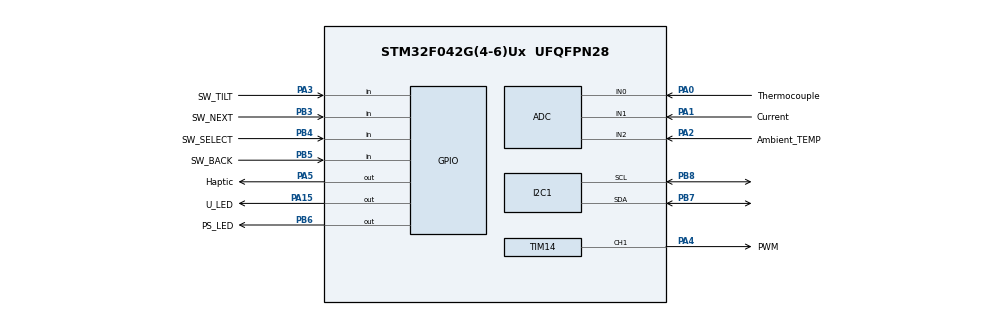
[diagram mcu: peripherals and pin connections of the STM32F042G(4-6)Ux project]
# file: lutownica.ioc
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ADC.ContinuousConvMode=DISABLE
ADC.EnableAnalogWatchDog=false
ADC.ExternalTrigConv=ADC_SOFTWARE_START
ADC.Overrun=ADC_OVR_DATA_PRESERVED
ADC.SamplingTime=ADC_SAMPLETIME_41CYCLES_5
Mcu.Family=STM32F0
Mcu.Name=STM32F042G(4-6)Ux
Mcu.Package=UFQFPN28
PA0.GPIO_Label=Thermocouple
PA0.Mode=IN0
PA0.Signal=ADC_IN0
PA1.GPIO_Label=Current
PA1.Mode=IN1
PA1.Signal=ADC_IN1
PA13.Mode=Serial_Wire
PA13.Signal=SYS_SWDIO
PA14.Mode=Serial_Wire
PA14.Signal=SYS_SWCLK
PA15.GPIO_Label=U_LED
PA15.Signal=GPIO_Output
PA2.GPIO_Label=Ambient_TEMP
PA2.Mode=IN2
PA2.Signal=ADC_IN2
PA3.GPIO_Label=SW_TILT
PA3.Signal=GPIO_Input
PA4.GPIO_Label=PWM
PA4.Signal=S_TIM14_CH1
PA5.GPIO_Label=Haptic
PA5.Signal=GPIO_Output
PA5.Stacked=true
PB3.GPIO_Label=SW_NEXT
PB3.GPIO_PuPd=GPIO_PULLUP
PB3.Signal=GPIO_Input
PB4.GPIO_Label=SW_SELECT
PB4.GPIO_PuPd=GPIO_PULLUP
PB4.Signal=GPIO_Input
PB5.GPIO_Label=SW_BACK
PB5.GPIO_PuPd=GPIO_PULLUP
PB5.Signal=GPIO_Input
PB6.GPIO_Label=PS_LED
PB6.PinState=GPIO_PIN_SET
PB6.Signal=GPIO_Output
PB7.Mode=I2C
PB7.Signal=I2C1_SDA
PB8.Mode=I2C
PB8.Signal=I2C1_SCL
ProjectManager.HeapSize=0x200
ProjectManager.StackSize=0x400
ProjectManager.TargetToolchain=STM32CubeIDE
RCC.AHBFreq_Value=48000000
RCC.APB1Freq_Value=48000000
RCC.APB1TimFreq_Value=48000000
RCC.HCLKFreq_Value=48000000
RCC.PLLDivider=RCC_PREDIV_DIV2
RCC.PLLSourceVirtual=RCC_PLLSOURCE_HSI48
RCC.PREFETCH_ENABLE=1
RCC.SYSCLKFreq_VALUE=48000000
RCC.SYSCLKSource=RCC_SYSCLKSOURCE_HSI48
SH.S_TIM14_CH1.0=TIM14_CH1,PWM Generation1 CH1
TIM14.AutoReloadPreload=TIM_AUTORELOAD_PRELOAD_ENABLE
TIM14.Channel=TIM_CHANNEL_1
TIM14.Period=65500
TIM14.Prescaler=5
VP_TIM14_VS_ClockSourceINT.Mode=Enable_Timer
board=custom

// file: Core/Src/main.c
/* USER CODE BEGIN Header */
/**
  ******************************************************************************
  * @file           : main.c
  * @brief          : Main program body
  ******************************************************************************
  * @attention
  *
  * Copyright (c) 2023 STMicroelectronics.
  * All rights reserved.
  *
  * This software is licensed under terms that can be found in the LICENSE file
  * in the root directory of this software component.
  * If no LICENSE file comes with this software, it is provided AS-IS.
  *
  ******************************************************************************
  */
/* USER CODE END Header */
#include "main.h"

/* USER CODE BEGIN Includes */
#include "ssd1306.h"
#include "stdbool.h"
#include "gui.h"
#include "t12tip.h"
#include "pid.h"

#define PID_KP  20.0f
#define PID_KI  5.0f
#define PID_KD  2.5f

#define PID_TAU 0.2f

#define PID_LIM_MIN 0.0f
#define PID_LIM_MAX  100.0f

#define PID_LIM_MIN_INT -50.0f
#define PID_LIM_MAX_INT  50.0f

#define SAMPLE_TIME_S 0.01f
/* USER CODE END Includes */

ADC_HandleTypeDef hadc;

I2C_HandleTypeDef hi2c1;

TIM_HandleTypeDef htim14;

void SystemClock_Config(void);
static void MX_GPIO_Init(void);
static void MX_I2C1_Init(void);
static void MX_ADC_Init(void);
static void MX_TIM14_Init(void);

/* USER CODE BEGIN 0 */
uint16_t setTemperature = 50;
uint16_t currentTemperature = 0;
float ambientTemperature = 0;
//int8_t offset = 0;
uint8_t step = 5;
uint8_t power = 0; //  moc pobierana przez grzalka W dwucyfrowa
bool status = true; //  1 working 0 sleep
uint8_t menuState=0;
//uint8_t buttons_position = 0;
//uint16_t next_state = 1;
//uint16_t back_state = 1;
//uint16_t ok_state = 1;
//uint8_t layer = 0;
//uint8_t new_layer = 0;
//int32_t CH1_DC = 0;
bool screanState = false;

/* USER CODE END 0 */

int main(void)
{
  /* USER CODE BEGIN 1 */
	volatile uint16_t valADC = 0;
	volatile uint16_t tempADC = 0;
	volatile uint16_t powerADC = 0;

PIDController pid = { PID_KP, PID_KI, PID_KD,
                          PID_TAU,
                          PID_LIM_MIN, PID_LIM_MAX,
						  PID_LIM_MIN_INT, PID_LIM_MAX_INT,
                          SAMPLE_TIME_S };
  /* USER CODE END 1 */

  /* MCU Configuration--------------------------------------------------------*/

  /* Reset of all peripherals, Initializes the Flash interface and the Systick. */
  HAL_Init();

  /* Configure the system clock */
  SystemClock_Config();

  /* Initialize all configured peripherals */
  MX_GPIO_Init();
  MX_I2C1_Init();
  MX_ADC_Init();
  MX_TIM14_Init();
  /* USER CODE BEGIN 2 */
  PIDController_Init(&pid);
  ssd1306_Init();

  /* USER CODE END 2 */

  /* Infinite loop */
  /* USER CODE BEGIN WHILE */
  while (1)
  {

	  HAL_TIM_PWM_Stop(&PWM_timer, PWM_Chanel);
	  HAL_Delay(40);
	  valADC = adc_read(ADC_CHANNEL_0);
	  HAL_Delay(10);
	  HAL_TIM_PWM_Start(&PWM_timer, PWM_Chanel);
	  //tempADC= adc_read(ADC_CHANNEL_2);
	  //powerADC = adc_read(ADC_CHANNEL_1);
	  HAL_ADC_Stop(&hadc);

	  //ambientTemperature = ((3.3f*tempADC/4095)-0.4f)/0.0195f;
	  currentTemperature = (uint16_t)(((3.3f*valADC/4095)/0.0079f)+ambientTemperature);
	  power = (uint16_t)(((powerADC/11)/0.1f)*20);
	  PIDController_Update(&pid, setTemperature, currentTemperature);
	  if(screanState==false) MainScrean(&setTemperature, currentTemperature,step,&screanState,status,power);
	  else{
		  MenuScrean(&screanState,&step,&menuState);
	  }

	  PWM_generation(pid.out);
    /* USER CODE END WHILE */

  }
}

void SystemClock_Config(void)
{
  LL_FLASH_SetLatency(LL_FLASH_LATENCY_1);
  while(LL_FLASH_GetLatency() != LL_FLASH_LATENCY_1)
  {
  }
  LL_RCC_HSI_Enable();

   /* Wait till HSI is ready */
  while(LL_RCC_HSI_IsReady() != 1)
  {

  }
  LL_RCC_HSI_SetCalibTrimming(16);
  LL_RCC_HSI14_Enable();

   /* Wait till HSI14 is ready */
  while(LL_RCC_HSI14_IsReady() != 1)
  {

  }
  LL_RCC_HSI14_SetCalibTrimming(16);
  LL_RCC_HSI48_Enable();

   /* Wait till HSI48 is ready */
  while(LL_RCC_HSI48_IsReady() != 1)
  {

  }
  LL_RCC_SetAHBPrescaler(LL_RCC_SYSCLK_DIV_1);
  LL_RCC_SetAPB1Prescaler(LL_RCC_APB1_DIV_1);
  LL_RCC_SetSysClkSource(LL_RCC_SYS_CLKSOURCE_HSI48);

   /* Wait till System clock is ready */
  while(LL_RCC_GetSysClkSource() != LL_RCC_SYS_CLKSOURCE_STATUS_HSI48)
  {

  }
  LL_SetSystemCoreClock(48000000);

   /* Update the time base */
  if (HAL_InitTick (TICK_INT_PRIORITY) != HAL_OK)
  {
    Error_Handler();
  }
  LL_RCC_HSI14_EnableADCControl();
  LL_RCC_SetI2CClockSource(LL_RCC_I2C1_CLKSOURCE_HSI);
}

static void MX_ADC_Init(void)
{

  ADC_ChannelConfTypeDef sConfig = {0};

  /** Configure the global features of the ADC (Clock, Resolution, Data Alignment and number of conversion)
  */
  hadc.Instance = ADC1;
  hadc.Init.ClockPrescaler = ADC_CLOCK_ASYNC_DIV1;
  hadc.Init.Resolution = ADC_RESOLUTION_12B;
  hadc.Init.DataAlign = ADC_DATAALIGN_RIGHT;
  hadc.Init.ScanConvMode = ADC_SCAN_DIRECTION_FORWARD;
  hadc.Init.EOCSelection = ADC_EOC_SINGLE_CONV;
  hadc.Init.LowPowerAutoWait = DISABLE;
  hadc.Init.LowPowerAutoPowerOff = DISABLE;
  hadc.Init.ContinuousConvMode = DISABLE;
  hadc.Init.DiscontinuousConvMode = DISABLE;
  hadc.Init.ExternalTrigConv = ADC_SOFTWARE_START;
  hadc.Init.ExternalTrigConvEdge = ADC_EXTERNALTRIGCONVEDGE_NONE;
  hadc.Init.DMAContinuousRequests = DISABLE;
  hadc.Init.Overrun = ADC_OVR_DATA_PRESERVED;
  if (HAL_ADC_Init(&hadc) != HAL_OK)
  {
    Error_Handler();
  }

  /** Configure for the selected ADC regular channel to be converted.
  */
  sConfig.Channel = ADC_CHANNEL_0;
  sConfig.Rank = ADC_RANK_CHANNEL_NUMBER;
  sConfig.SamplingTime = ADC_SAMPLETIME_41CYCLES_5;
  if (HAL_ADC_ConfigChannel(&hadc, &sConfig) != HAL_OK)
  {
    Error_Handler();
  }

  /** Configure for the selected ADC regular channel to be converted.
  */
  sConfig.Channel = ADC_CHANNEL_1;
  if (HAL_ADC_ConfigChannel(&hadc, &sConfig) != HAL_OK)
  {
    Error_Handler();
  }

  /** Configure for the selected ADC regular channel to be converted.
  */
  sConfig.Channel = ADC_CHANNEL_2;
  if (HAL_ADC_ConfigChannel(&hadc, &sConfig) != HAL_OK)
  {
    Error_Handler();
  }

}

static void MX_I2C1_Init(void)
{

  hi2c1.Instance = I2C1;
  hi2c1.Init.Timing = 0x2000090E;
  hi2c1.Init.OwnAddress1 = 0;
  hi2c1.Init.AddressingMode = I2C_ADDRESSINGMODE_7BIT;
  hi2c1.Init.DualAddressMode = I2C_DUALADDRESS_DISABLE;
  hi2c1.Init.OwnAddress2 = 0;
  hi2c1.Init.OwnAddress2Masks = I2C_OA2_NOMASK;
  hi2c1.Init.GeneralCallMode = I2C_GENERALCALL_DISABLE;
  hi2c1.Init.NoStretchMode = I2C_NOSTRETCH_DISABLE;
  if (HAL_I2C_Init(&hi2c1) != HAL_OK)
  {
    Error_Handler();
  }

  /** Configure Analogue filter
  */
  if (HAL_I2CEx_ConfigAnalogFilter(&hi2c1, I2C_ANALOGFILTER_ENABLE) != HAL_OK)
  {
    Error_Handler();
  }

  /** Configure Digital filter
  */
  if (HAL_I2CEx_ConfigDigitalFilter(&hi2c1, 0) != HAL_OK)
  {
    Error_Handler();
  }

}

static void MX_TIM14_Init(void)
{

  TIM_OC_InitTypeDef sConfigOC = {0};

  htim14.Instance = TIM14;
  htim14.Init.Prescaler = 2;
  htim14.Init.CounterMode = TIM_COUNTERMODE_UP;
  htim14.Init.Period = 65500;
  htim14.Init.ClockDivision = TIM_CLOCKDIVISION_DIV1;
  htim14.Init.AutoReloadPreload = TIM_AUTORELOAD_PRELOAD_ENABLE;
  if (HAL_TIM_Base_Init(&htim14) != HAL_OK)
  {
    Error_Handler();
  }
  if (HAL_TIM_PWM_Init(&htim14) != HAL_OK)
  {
    Error_Handler();
  }
  sConfigOC.OCMode = TIM_OCMODE_PWM1;
  sConfigOC.Pulse = 0;
  sConfigOC.OCPolarity = TIM_OCPOLARITY_HIGH;
  sConfigOC.OCFastMode = TIM_OCFAST_DISABLE;
  if (HAL_TIM_PWM_ConfigChannel(&htim14, &sConfigOC, TIM_CHANNEL_1) != HAL_OK)
  {
    Error_Handler();
  }
  HAL_TIM_MspPostInit(&htim14);

}

static void MX_GPIO_Init(void)
{
  GPIO_InitTypeDef GPIO_InitStruct = {0};

  /* GPIO Ports Clock Enable */
  __HAL_RCC_GPIOB_CLK_ENABLE();
  __HAL_RCC_GPIOA_CLK_ENABLE();

  /*Configure GPIO pin Output Level */
  HAL_GPIO_WritePin(GPIOA, Haptic_Pin|U_LED_Pin, GPIO_PIN_RESET);

  /*Configure GPIO pin Output Level */
  HAL_GPIO_WritePin(PS_LED_GPIO_Port, PS_LED_Pin, GPIO_PIN_SET);

  /*Configure GPIO pin : SW_TILT_Pin */
  GPIO_InitStruct.Pin = SW_TILT_Pin;
  GPIO_InitStruct.Mode = GPIO_MODE_INPUT;
  GPIO_InitStruct.Pull = GPIO_NOPULL;
  HAL_GPIO_Init(SW_TILT_GPIO_Port, &GPIO_InitStruct);

  /*Configure GPIO pins : Haptic_Pin U_LED_Pin */
  GPIO_InitStruct.Pin = Haptic_Pin|U_LED_Pin;
  GPIO_InitStruct.Mode = GPIO_MODE_OUTPUT_PP;
  GPIO_InitStruct.Pull = GPIO_NOPULL;
  GPIO_InitStruct.Speed = GPIO_SPEED_FREQ_LOW;
  HAL_GPIO_Init(GPIOA, &GPIO_InitStruct);

  /*Configure GPIO pins : SW_NEXT_Pin SW_SELECT_Pin SW_BACK_Pin */
  GPIO_InitStruct.Pin = SW_NEXT_Pin|SW_SELECT_Pin|SW_BACK_Pin;
  GPIO_InitStruct.Mode = GPIO_MODE_INPUT;
  GPIO_InitStruct.Pull = GPIO_PULLUP;
  HAL_GPIO_Init(GPIOB, &GPIO_InitStruct);

  /*Configure GPIO pin : PS_LED_Pin */
  GPIO_InitStruct.Pin = PS_LED_Pin;
  GPIO_InitStruct.Mode = GPIO_MODE_OUTPUT_PP;
  GPIO_InitStruct.Pull = GPIO_NOPULL;
  GPIO_InitStruct.Speed = GPIO_SPEED_FREQ_LOW;
  HAL_GPIO_Init(PS_LED_GPIO_Port, &GPIO_InitStruct);

}

void Error_Handler(void)
{
  __disable_irq();
  while (1)
  {
  }
}
